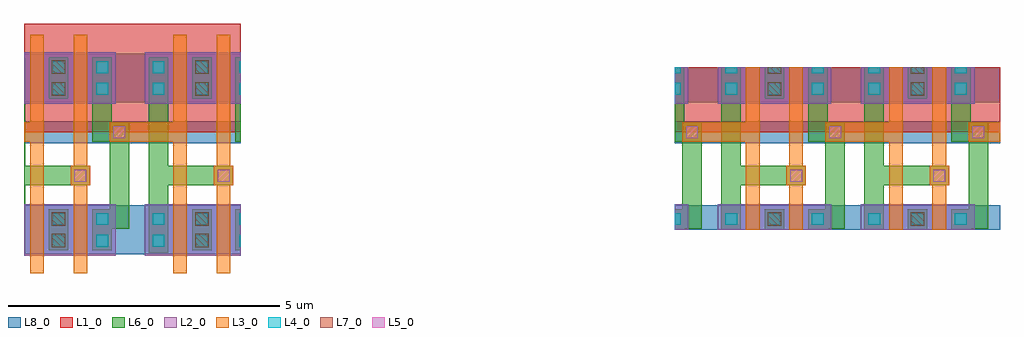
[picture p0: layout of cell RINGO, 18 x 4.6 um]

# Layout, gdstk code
import gdstk
lib = gdstk.Library(unit=1e-6, precision=1e-09)
def R(c, l, rs):  # rectangles x0, y0, x1, y1
    for r in rs: c.add(gdstk.rectangle(r[:2], r[2:], *l))
def A(c, l, x, y, w, h, nx, ny, dx, dy):  # array of equal rectangles
    R(c, l, [(x+i*dx, y+j*dy, x+i*dx+w, y+j*dy+h) for i in range(nx) for j in range(ny)])
def P(c, l, *ps):  # polygons
    for p in ps: c.add(gdstk.Polygon(p, *l))
L1_0 = (1, 0)
L2_0 = (2, 0)
L3_0 = (3, 0)
L4_0 = (4, 0)
L5_0 = (5, 0)
L6_0 = (6, 0)
L7_0 = (7, 0)
L8_0 = (8, 0)

ringo = lib.new_cell('RINGO')
R(ringo, L1_0, [(2,1.8,4.04,3.8), (3.88,1.8,6,3.8), (14,1.8,14.6,3), (14.44,1.8,17.24,3), (17.08,1.8,19.88,3), (19.72,1.8,20,3)])
R(ringo, L2_0, [(2,-0.475,2.89,0.475), (2.39,-0.475,3.69,0.475), (4.23,-0.475,5.53,0.475), (5.03,-0.475,6,0.475), (14,0,14.25,0.475), (14.79,0,16.09,0.475), (15.59,0,16.89,0.475), (17.43,0,18.73,0.475), (18.23,0,19.53,0.475), (2,2.325,2.89,3.275), (2.39,2.325,3.69,3.275), (4.23,2.325,5.53,3.275), (5.03,2.325,6,3.275), (14,2.325,14.25,3), (14.79,2.325,16.09,3), (15.59,2.325,16.89,3), (17.43,2.325,18.73,3), (18.23,2.325,19.53,3)])
R(ringo, L3_0, [(2.115,-0.8,2.365,0.8), (2.915,-0.8,3.165,0.8), (4.755,-0.8,5.005,0.8), (5.555,-0.8,5.805,0.8), (2.115,-0.25,2.365,2.25), (2.915,-0.25,3.165,2.25), (4.755,-0.25,5.005,2.25), (5.555,-0.25,5.805,2.25), (15.315,0,15.565,2.25), (15.315,0,15.565,0.8), (16.115,0,16.365,2.25), (16.115,0,16.365,0.8), (17.955,0,18.205,2.25), (17.955,0,18.205,0.8), (18.755,0,19.005,2.25), (18.755,0,19.005,0.8), (2.86,0.82,3.22,1.18), (5.5,0.82,5.86,1.18), (16.06,0.82,16.42,1.18), (18.7,0.82,19.06,1.18), (2,1.62,2.24,1.98), (3.58,1.62,4.88,1.98), (14.14,1.62,15.44,1.98), (16.78,1.62,18.08,1.98), (19.42,1.62,20,1.98), (2.115,2,2.365,3.6), (2.915,2,3.165,3.6), (4.755,2,5.005,3.6), (5.555,2,5.805,3.6), (15.315,2,15.565,3), (16.115,2,16.365,3), (17.955,2,18.205,3), (18.755,2,19.005,3)])
R(ringo, L4_0, [(2.53,-0.31,2.75,-0.09), (2.53,-0.31,2.75,-0.09), (3.33,-0.31,3.55,-0.09), (4.37,-0.31,4.59,-0.09), (5.17,-0.31,5.39,-0.09), (5.17,-0.31,5.39,-0.09), (5.97,-0.31,6,-0.09), (2.53,0.09,2.75,0.31), (2.53,0.09,2.75,0.31), (3.33,0.09,3.55,0.31), (4.37,0.09,4.59,0.31), (5.17,0.09,5.39,0.31), (5.17,0.09,5.39,0.31), (5.97,0.09,6,0.31), (14,0.09,14.11,0.31), (14.93,0.09,15.15,0.31), (15.73,0.09,15.95,0.31), (15.73,0.09,15.95,0.31), (16.53,0.09,16.75,0.31), (17.57,0.09,17.79,0.31), (18.37,0.09,18.59,0.31), (18.37,0.09,18.59,0.31), (19.17,0.09,19.39,0.31), (2.53,2.49,2.75,2.71), (2.53,2.49,2.75,2.71), (3.33,2.49,3.55,2.71), (4.37,2.49,4.59,2.71), (5.17,2.49,5.39,2.71), (5.17,2.49,5.39,2.71), (5.97,2.49,6,2.71), (14,2.49,14.11,2.71), (14.93,2.49,15.15,2.71), (15.73,2.49,15.95,2.71), (15.73,2.49,15.95,2.71), (16.53,2.49,16.75,2.71), (17.57,2.49,17.79,2.71), (18.37,2.49,18.59,2.71), (18.37,2.49,18.59,2.71), (19.17,2.49,19.39,2.71), (2.53,2.89,2.75,3.11), (2.53,2.89,2.75,3.11), (3.33,2.89,3.55,3.11), (4.37,2.89,4.59,3.11), (5.17,2.89,5.39,3.11), (5.17,2.89,5.39,3.11), (5.97,2.89,6,3.11), (14,2.89,14.11,3), (14.93,2.89,15.15,3), (15.73,2.89,15.95,3), (15.73,2.89,15.95,3), (16.53,2.89,16.75,3), (17.57,2.89,17.79,3), (18.37,2.89,18.59,3), (18.37,2.89,18.59,3), (19.17,2.89,19.39,3)])
A(ringo, L5_0, 14.21, 1.69, 0.22, 0.22, 3, 1, 2.64, 0)
R(ringo, L5_0, [(2.93,0.89,3.15,1.11), (5.57,0.89,5.79,1.11), (16.13,0.89,16.35,1.11), (18.77,0.89,18.99,1.11), (3.65,1.69,3.87,1.91)])
R(ringo, L6_0, [(2,-0.42,2.02,2.42), (4.3,-0.42,4.66,2.42), (2,-0.38,2.02,0.38), (2.46,-0.38,2.82,0.38), (2.46,-0.38,2.82,0.38), (3.26,-0.38,3.62,0.38), (4.3,-0.38,4.66,0.38), (5.1,-0.38,5.46,0.38), (5.1,-0.38,5.46,0.38), (5.9,-0.38,6,0.38), (14,0,14.18,0.38), (14.86,0,15.22,2.42), (14.86,0,15.22,0.38), (15.66,0,16.02,0.38), (15.66,0,16.02,0.38), (16.46,0,16.82,0.38), (17.5,0,17.86,2.42), (17.5,0,17.86,0.38), (18.3,0,18.66,0.38), (18.3,0,18.66,0.38), (19.1,0,19.46,0.38), (2,0.82,3.22,1.18), (4.48,0.82,5.86,1.18), (15.04,0.82,16.42,1.18), (17.68,0.82,19.06,1.18), (5.9,1.62,6,2.42), (2,2.42,2.02,3.18), (2.46,2.42,2.82,3.18), (2.46,2.42,2.82,3.18), (3.26,2.42,3.62,3.18), (4.3,2.42,4.66,3.18), (5.1,2.42,5.46,3.18), (5.1,2.42,5.46,3.18), (5.9,2.42,6,3.18), (14,2.42,14.18,3), (14.86,2.42,15.22,3), (15.66,2.42,16.02,3), (15.66,2.42,16.02,3), (16.46,2.42,16.82,3), (17.5,2.42,17.86,3), (18.3,2.42,18.66,3), (18.3,2.42,18.66,3), (19.1,2.42,19.46,3)])
P(ringo, L6_0, [(3.44,0.02),(3.44,0.38),(3.58,0.38),(3.58,1.62),(3.26,1.62),(3.26,2.42),(3.62,2.42),(3.62,1.98),(3.94,1.98),(3.94,0.02)],
  [(14,0.02),(14,0.38),(14.14,0.38),(14.14,1.62),(14,1.62),(14,2.42),(14.18,2.42),(14.18,1.98),(14.5,1.98),(14.5,0.02)],
  [(16.64,0.02),(16.64,0.38),(16.78,0.38),(16.78,1.62),(16.46,1.62),(16.46,2.42),(16.82,2.42),(16.82,1.98),(17.14,1.98),(17.14,0.02)],
  [(19.28,0.02),(19.28,0.38),(19.42,0.38),(19.42,1.62),(19.1,1.62),(19.1,2.42),(19.46,2.42),(19.46,1.98),(19.78,1.98),(19.78,0.02)])
R(ringo, L7_0, [(2.515,-0.325,2.765,-0.075), (5.155,-0.325,5.405,-0.075), (2.515,0.075,2.765,0.325), (5.155,0.075,5.405,0.325), (15.715,0.075,15.965,0.325), (18.355,0.075,18.605,0.325), (2.515,2.475,2.765,2.725), (5.155,2.475,5.405,2.725), (15.715,2.475,15.965,2.725), (18.355,2.475,18.605,2.725), (2.515,2.875,2.765,3.125), (5.155,2.875,5.405,3.125), (15.715,2.875,15.965,3), (18.355,2.875,18.605,3)])
R(ringo, L8_0, [(2,-0.45,4.04,0.45), (3.88,-0.45,6,0.45), (14,0,14.6,0.45), (14.44,0,17.24,0.45), (17.08,0,19.88,0.45), (19.72,0,20,0.45), (2,1.6,6,2), (14,1.6,20,2), (2,2.35,4.04,3.25), (3.88,2.35,6,3.25), (14,2.35,14.6,3), (14.44,2.35,17.24,3), (17.08,2.35,19.88,3), (19.72,2.35,20,3)])

lib.write_gds('RINGO.gds')
